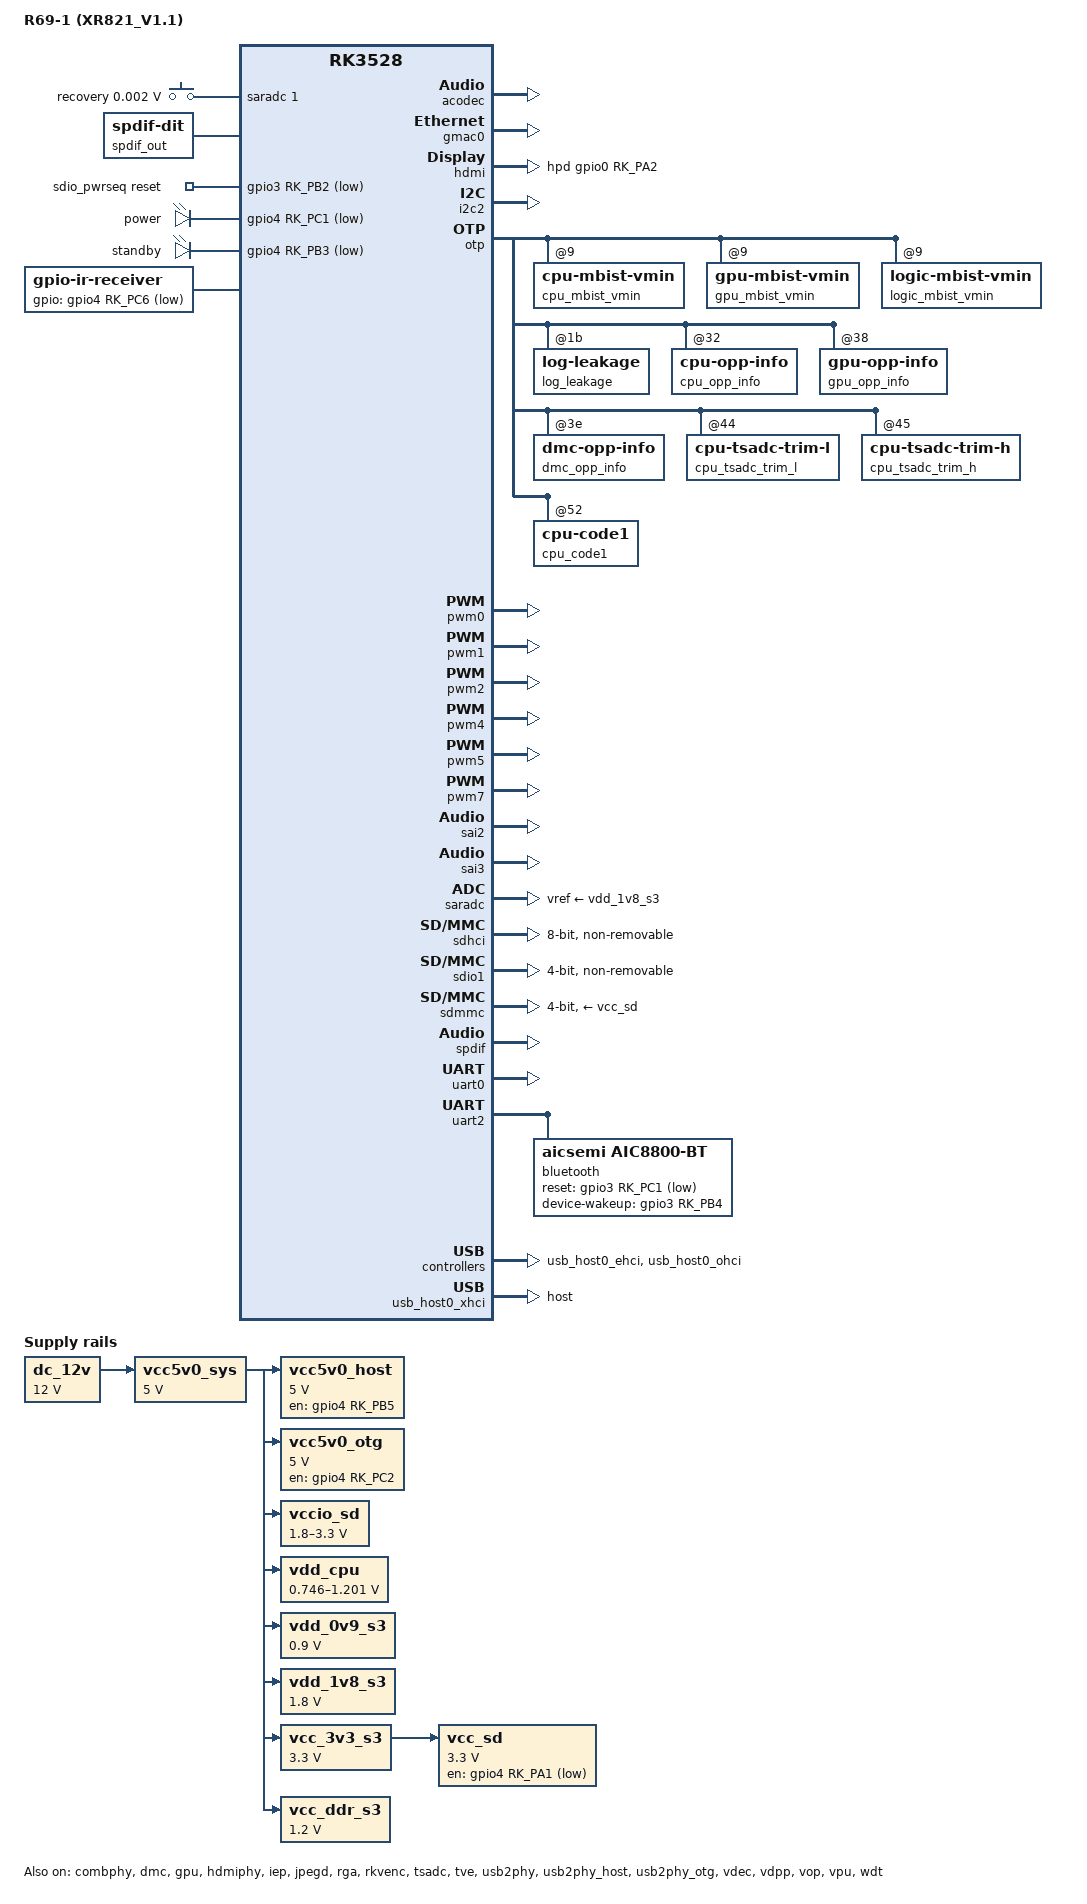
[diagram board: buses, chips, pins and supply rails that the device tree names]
/dts-v1/;

/*
 * Written by tools/dtcx/upstream.py from board.dts: a view, not edited.
 * Over gregkh/linux at v7.3.4.
 * Needs, beyond it, found by name and so best-effort: each
 * patch adding a name the tree uses or a dtsi change it keeps, which may in
 * turn need others before it:
 *   patches/linux-rockchip/6.12/bluetooth-hci-h4-serdev.patch:
 *     "aicsemi,aic8800-bt"
 *   patches/linux-rockchip-mainline/dt-bindings-rk3528.patch:
 *     "rockchip,rk3528-vdec", "rockchip,rk3528-tsadc", rockchip,grf, rockchip,hw-tshut-mode,
 *     rockchip,hw-tshut-polarity, rockchip,hw-tshut-temp, "rockchip,rk3528-vop", rockchip,pmu,
 *     "rockchip,rk3528-dw-hdmi", "rockchip,rk3528-hdmi-phy", "rockchip,rk3528-codec"
 *   patches/linux-rockchip-mainline/dt-bindings-rk3528-audio.patch:
 *     "rockchip,rk3528-sai", "rockchip,rk3576-sai"
 *   patches/linux-rockchip-mainline/dt-bindings-rk3528-core-grf.patch:
 *     "rockchip,rk3528-core-grf"
 *   patches/linux-rockchip-mainline/dt-bindings-rk3528-rga.patch:
 *     "rockchip,rk3528-rga"
 *   patches/linux-rockchip-mainline/dt-bindings-rockchip-iep2.patch:
 *     "rockchip,rk3528-iep"
 *   patches/linux-rockchip-mainline/dt-bindings-rockchip-vdpp.patch:
 *     "rockchip,rk3528-vdpp"
 *   patches/linux-rockchip-mainline/dt-bindings-rockchip-iommu-dlr.patch:
 *     rockchip,disable-device-link-resume
 *   patches/linux-rockchip-mainline/dt-bindings-rockchip-grf-rk3528-pmu.patch:
 *     "rockchip,rk3528-pmu-grf"
 *   patches/linux-rockchip-mainline/dt-bindings-rk3528-gpu-grf.patch:
 *     "rockchip,rk3528-gpu-grf"
 *   patches/linux-rockchip-mainline/dt-bindings-devfreq-rockchip-dfi-rk3528.patch:
 *     "rockchip,rk3528-dfi"
 *   patches/linux-rockchip-mainline/dt-bindings-rockchip-rk3528-dmc.patch:
 *     "rockchip,rk3528-dmc"
 *   patches/linux-rockchip-mainline/media-rkvdec-rk3528.patch:
 *     "rockchip,rk3528-vdec"
 *   patches/linux-rockchip-mainline/media-hantro-rk3528-bindings.patch:
 *     "rockchip,rk3528-vpu"
 *   patches/linux-rockchip-mainline/media-hantro-rk3528.patch:
 *     "rockchip,rk3528-vpu"
 *   patches/linux-rockchip-mainline/media-rga-rk3528.patch:
 *     "rockchip,rk3528-rga"
 *   patches/linux-rockchip-mainline/media-rockchip-iep2.patch:
 *     "rockchip,rk3528-iep"
 *   patches/linux-rockchip-mainline/devfreq-rockchip-dfi-rk3528.patch:
 *     "rockchip,rk3528-dfi"
 *   patches/linux-rockchip-mainline/devfreq-rk3528-dmc.patch:
 *     "rockchip,rk3528-dmc"
 *   patches/linux-rockchip-mainline/thermal-rk3528.patch:
 *     "rockchip,rk3528-tsadc", rockchip,hw-tshut-mode
 *   patches/linux-rockchip-mainline/cpufreq-rockchip-pvtm.patch:
 *     "rockchip,rk3528", "rockchip,rk3528-mali", rockchip,grf, rockchip,pvtm-freq,
 *     rockchip,pvtm-offset, rockchip,pvtm-sample-time, rockchip,pvtm-volt,
 *     rockchip,pvtm-voltage-sel
 *   patches/linux-rockchip-mainline/drm-rk3528.patch:
 *     "rockchip,rk3528-dw-hdmi", "rockchip,rk3528-vop", "rockchip,rk3528-hdmi-phy"
 *   patches/linux-rockchip-mainline/drm-rk3528-tve.patch:
 *     "rockchip,rk3528-tve", rockchip,grf
 *   patches/linux-rockchip-mainline/iommu-rockchip-attach-only.patch:
 *     rockchip,disable-device-link-resume
 *   patches/linux-rockchip-mainline/arm64-dts-rk3528-media-display.patch:
 *     &core_grf, &rmii0_phy nvmem-cells, &rmii0_phy nvmem-cell-names, &test_version,
 *     &macphy_txlevel, &vdac_out_current, &spdif, &rng, &rga, &rga_mmu, &iep, &iep_mmu, &vdpp,
 *     &jpegd, &jpegd_mmu, &vpu, &vdpu_mmu, &vdec_mmu, &vdec, &sram, &sai2, &acodec, &vop, &vop_mmu,
 *     &tve, &rkvenc, &rkvenc_mmu, &hdmi, &hdmiphy, &sai3, &tsadc, &display_subsystem
 *   patches/linux-rockchip-mainline/arm64-dts-rk3528-dfi.patch:
 *     &pmu_grf, &dfi
 *   patches/linux-rockchip-mainline/arm64-dts-rk3528-gpu-grf.patch:
 *     &gpu_grf
 *   patches/linux-rockchip-mainline/arm64-dts-rk3528-gpu-bus-clock.patch:
 *     &gpu assigned-clock-rates
 *   patches/linux-rockchip-mainline/arm64-dts-rk3528-dmc.patch:
 *     &dmc, &dmc_opp_table
 *   patches/linux-rockchip-mainline/media-rc-keymaps-r69-1.patch:
 *     "rc-r69-1"
 *   patches/linux-rockchip-mainline/asoc-rk3528-codec.patch:
 *     "rockchip,rk3528-codec"
 *   patches/linux-rockchip-mainline/media-rkjpegd-v7-bindings.patch:
 *     "rockchip,rk3588-jpegd"
 *   patches/linux-rockchip-mainline/media-rkjpegd-v7-driver.patch:
 *     "rockchip,rk3588-jpegd"
 *   patches/linux-rockchip-mainline/media-rkvenc-rk3528-bindings.patch:
 *     "rockchip,rk3528-rkvenc"
 *   patches/linux-rockchip-mainline/media-rkvenc-rk3528-vepu540c.patch:
 *     "rockchip,rk3528-rkvenc"
 *   patches/linux-rockchip-mainline/media-rockchip-vdpp.patch:
 *     "rockchip,rk3528-vdpp"
 * Left out, the distribution's, not the board's:
 *   /reserved-memory/ramoops@110000
 */

#include "rk3528.dtsi"
#include <dt-bindings/power/rockchip,rk3528-power.h>
#include <dt-bindings/gpio/gpio.h>
#include <dt-bindings/interrupt-controller/arm-gic.h>
#include <dt-bindings/interrupt-controller/irq.h>
#include <dt-bindings/pinctrl/rockchip.h>
#include <dt-bindings/input/linux-event-codes.h>
#include <dt-bindings/thermal/thermal.h>

/ {
	compatible = "r69-1,rk3518-tvbox", "rockchip,rk3528";
	model = "R69-1 (XR821_V1.1)";

	aliases {
		ethernet0 = &gmac0;
		i2c0 = &i2c0;
		i2c1 = &i2c1;
		i2c2 = &i2c2;
		i2c3 = &i2c3;
		i2c4 = &i2c4;
		i2c5 = &i2c5;
		i2c6 = &i2c6;
		i2c7 = &i2c7;
		serial0 = &uart0;
		serial1 = &uart1;
		serial2 = &uart2;
		serial3 = &uart3;
		serial4 = &uart4;
		serial5 = &uart5;
		serial6 = &uart6;
		serial7 = &uart7;
		spi0 = &spi0;
		spi1 = &spi1;
	};

	cpus {
		idle-states {
			entry-method = "psci";

			CPU_SLEEP0: cpu-sleep0 {
				compatible = "arm,idle-state";
				local-timer-stop;
				arm,psci-suspend-param = <0x10000>;
				entry-latency-us = <120>;
				exit-latency-us = <250>;
				min-residency-us = <900>;
				status = "disabled";
			};

			CPU_SLEEP1: cpu-sleep {
				compatible = "arm,idle-state";
				local-timer-stop;
				arm,psci-suspend-param = <0x10000>;
				entry-latency-us = <120>;
				exit-latency-us = <250>;
				min-residency-us = <900>;
				status = "okay";
			};
		};
	};

	firmware {
		optee {
			compatible = "linaro,optee-tz";
			method = "smc";
		};
	};

	reserved-memory {
		cma {
			compatible = "shared-dma-pool";
			reusable;
			size = <0x00 0x800000>;
			linux,cma-default;
		};
	};

	arm-pmu {
		compatible = "arm,cortex-a53-pmu";
		interrupts = <GIC_SPI 171 IRQ_TYPE_LEVEL_HIGH>,
		             <GIC_SPI 172 IRQ_TYPE_LEVEL_HIGH>,
		             <GIC_SPI 173 IRQ_TYPE_LEVEL_HIGH>,
		             <GIC_SPI 174 IRQ_TYPE_LEVEL_HIGH>;
		interrupt-affinity = <&cpu0>, <&cpu1>, <&cpu2>, <&cpu3>;
	};

	thermal_zones: thermal-zones {
		soc_thermal: soc-thermal {
			polling-delay-passive = <20>;
			polling-delay = <1000>;
			sustainable-power = <638>;
			thermal-sensors = <&tsadc 0>;

			trips {
				threshold: trip-point-0 {
					temperature = <95000>;
					hysteresis = <2000>;
					type = "passive";
				};

				target: trip-point-1 {
					temperature = <110000>;
					hysteresis = <2000>;
					type = "passive";
				};

				soc_crit: soc-crit {
					temperature = <120000>;
					hysteresis = <2000>;
					type = "critical";
				};
			};

			cooling-maps {
				map0 {
					trip = <&target>;
					cooling-device = <&cpu0 THERMAL_NO_LIMIT THERMAL_NO_LIMIT>;
					contribution = <1024>;
				};

				map1 {
					trip = <&target>;
					cooling-device = <&gpu THERMAL_NO_LIMIT THERMAL_NO_LIMIT>;
					contribution = <1024>;
				};
			};
		};
	};

	acodec_sound: acodec-sound {
		compatible = "simple-audio-card";
		simple-audio-card,name = "rk3528-acodec";
		simple-audio-card,format = "i2s";
		simple-audio-card,mclk-fs = <256>;
		status = "okay";

		simple-audio-card,cpu {
			sound-dai = <&sai2>;
		};

		simple-audio-card,codec {
			sound-dai = <&acodec>;
		};
	};

	adc_keys: adc-keys {
		compatible = "adc-keys";
		io-channels = <&saradc 1>;
		io-channel-names = "buttons";
		keyup-threshold-microvolt = <1800000>;
		poll-interval = <100>;
		status = "okay";

		button-recovery {
			press-threshold-microvolt = <1750>;
			linux,code = <KEY_VENDOR>;
			label = "recovery";
		};
	};

	dc_12v: dc-12v {
		compatible = "regulator-fixed";
		regulator-name = "dc_12v";
		regulator-always-on;
		regulator-boot-on;
		regulator-min-microvolt = <12000000>;
		regulator-max-microvolt = <12000000>;
	};

	spdif-sound {
		compatible = "simple-audio-card";
		simple-audio-card,name = "ROCKCHIP,SPDIF";
		simple-audio-card,mclk-fs = <128>;
		status = "okay";

		simple-audio-card,cpu {
			sound-dai = <&spdif>;
		};

		simple-audio-card,codec {
			sound-dai = <&spdif_out>;
		};
	};

	spdif_out: spdif-out {
		compatible = "linux,spdif-dit";
		#sound-dai-cells = <0>;
		status = "okay";
	};

	vcc5v0_sys: vcc5v0-sys {
		compatible = "regulator-fixed";
		regulator-name = "vcc5v0_sys";
		regulator-always-on;
		regulator-boot-on;
		regulator-min-microvolt = <5000000>;
		regulator-max-microvolt = <5000000>;
		vin-supply = <&dc_12v>;
	};

	vcc5v0_host: vcc5v0-host-regulator {
		compatible = "regulator-fixed";
		regulator-name = "vcc5v0_host";
		regulator-boot-on;
		regulator-always-on;
		regulator-min-microvolt = <5000000>;
		regulator-max-microvolt = <5000000>;
		enable-active-high;
		gpio = <&gpio4 RK_PB5 GPIO_ACTIVE_HIGH>;
		vin-supply = <&vcc5v0_sys>;
		pinctrl-names = "default";
		pinctrl-0 = <&vcc5v0_host_en>;
	};

	vcc5v0_otg: vcc5v0-otg-regulator {
		compatible = "regulator-fixed";
		regulator-name = "vcc5v0_otg";
		regulator-min-microvolt = <5000000>;
		regulator-max-microvolt = <5000000>;
		enable-active-high;
		gpio = <&gpio4 RK_PC2 GPIO_ACTIVE_HIGH>;
		vin-supply = <&vcc5v0_sys>;
		pinctrl-names = "default";
		pinctrl-0 = <&vcc5v0_otg_en>;
	};

	vccio_sd: vccio-sd {
		compatible = "regulator-gpio";
		regulator-name = "vccio_sd";
		regulator-min-microvolt = <1800000>;
		regulator-max-microvolt = <3300000>;
		gpios = <&gpio4 RK_PB6 GPIO_ACTIVE_HIGH>;
		vin-supply = <&vcc5v0_sys>;
		states = <1800000 0 3300000 1>;
	};

	vdd_cpu: vdd_logic: vdd_gpu: vdd-cpu {
		compatible = "pwm-regulator";
		pwms = <&pwm1 0 5000 1>;
		regulator-name = "vdd_cpu";
		regulator-min-microvolt = <746000>;
		regulator-max-microvolt = <1201000>;
		regulator-always-on;
		regulator-boot-on;
		regulator-settling-time-up-us = <250>;
		pwm-supply = <&vcc5v0_sys>;
		status = "okay";
	};

	vdd_0v9_s3: vdd-0v9-s3 {
		compatible = "regulator-fixed";
		regulator-name = "vdd_0v9_s3";
		regulator-always-on;
		regulator-boot-on;
		regulator-min-microvolt = <900000>;
		regulator-max-microvolt = <900000>;
		vin-supply = <&vcc5v0_sys>;
	};

	vdd_1v8_s3: vdd-1v8-s3 {
		compatible = "regulator-fixed";
		regulator-name = "vdd_1v8_s3";
		regulator-always-on;
		regulator-boot-on;
		regulator-min-microvolt = <1800000>;
		regulator-max-microvolt = <1800000>;
		vin-supply = <&vcc5v0_sys>;
	};

	vcc_3v3_s3: vcc-3v3-s3 {
		compatible = "regulator-fixed";
		regulator-name = "vcc_3v3_s3";
		regulator-always-on;
		regulator-boot-on;
		regulator-min-microvolt = <3300000>;
		regulator-max-microvolt = <3300000>;
		vin-supply = <&vcc5v0_sys>;
	};

	vcc_sd: vcc-sd {
		compatible = "regulator-fixed";
		gpio = <&gpio4 RK_PA1 GPIO_ACTIVE_LOW>;
		regulator-name = "vcc_sd";
		regulator-min-microvolt = <3300000>;
		regulator-max-microvolt = <3300000>;
		vin-supply = <&vcc_3v3_s3>;
	};

	vcc_ddr_s3: vcc-ddr-s3 {
		compatible = "regulator-fixed";
		regulator-name = "vcc_ddr_s3";
		regulator-always-on;
		regulator-boot-on;
		regulator-min-microvolt = <1200000>;
		regulator-max-microvolt = <1200000>;
		vin-supply = <&vcc5v0_sys>;
	};

	sdio_pwrseq: sdio-pwrseq {
		compatible = "mmc-pwrseq-simple";
		pinctrl-names = "default";
		post-power-on-delay-ms = <200>;
		reset-gpios = <&gpio3 RK_PB2 GPIO_ACTIVE_LOW>;
		pinctrl-0 = <&wifi_enable_h>, <&clkm1_32k_out>;
		status = "okay";
	};

	leds {
		compatible = "gpio-leds";

		/* lit when driven low, measured: the factory tree's active-high leaves it dark while up */
		normal_led: led-power {
			gpios = <&gpio4 RK_PC1 GPIO_ACTIVE_LOW>;
			default-state = "on";
			retain-state-suspended;
			retain-state-shutdown;
			label = "power";
		};

		standby_led: led-standby {
			gpios = <&gpio4 RK_PB3 GPIO_ACTIVE_LOW>;
			default-state = "off";
			retain-state-suspended;
			retain-state-shutdown;
			label = "standby";
		};
	};

	ir-receiver {
		compatible = "gpio-ir-receiver";
		gpios = <&gpio4 RK_PC6 GPIO_ACTIVE_LOW>;
		linux,rc-map-name = "rc-r69-1";
		pinctrl-names = "default";
		pinctrl-0 = <&ir_rx_gpio>;
	};

	hdmi-sound {
		compatible = "simple-audio-card";
		simple-audio-card,name = "rockchip,hdmi";
		simple-audio-card,format = "i2s";
		simple-audio-card,mclk-fs = <128>;

		simple-audio-card,cpu {
			sound-dai = <&sai3>;
			dai-tdm-slot-num = <2>;
			dai-tdm-slot-width = <32>;
		};

		simple-audio-card,codec {
			sound-dai = <&hdmi>;
		};
	};
};

&acodec {
	pa-ctl-gpios = <&gpio0 RK_PA0 GPIO_ACTIVE_HIGH>;
	status = "okay";
};

&combphy {
	status = "okay";
};

&cpu0 {
	#cooling-cells = <2>;
	dynamic-power-coefficient = <147>;
	cpu-idle-states = <&CPU_SLEEP0>;
	cpu-supply = <&vdd_cpu>;
};

&cpu1 {
	cpu-idle-states = <&CPU_SLEEP0>;
};

&cpu2 {
	cpu-idle-states = <&CPU_SLEEP1>;
};

&cpu3 {
	cpu-idle-states = <&CPU_SLEEP1>;
};

&cpu_opp_table {
	rockchip,pvtm-voltage-sel = <0 1420 0>, <1410 1444 1>, <1445 1474 2>, <1475 1509 3>,
	                            <1510 1544 4>, <1545 1579 5>, <1580 1619 6>,
	                            <1620 1689 7>, <1690 1744 8>, <1745 1799 9>,
	                            <1800 9999 10>;
	rockchip,pvtm-offset = <0x18>;
	rockchip,pvtm-sample-time = <1100>;
	rockchip,pvtm-freq = <1416000>;
	rockchip,pvtm-volt = <950000>;
	rockchip,grf = <&core_grf>;
	/delete-node/ opp-1608000000;
	/delete-node/ opp-1800000000;
	/delete-node/ opp-2016000000;

	opp-1200000000 {
		opp-microvolt = <900000 900000 1000000>;
	};

	opp-1416000000 {
		opp-microvolt = <962500 962500 1000000>;
		opp-microvolt-L1 = <950000 950000 1000000>;
		opp-microvolt-L2 = <937500 937500 1000000>;
		opp-microvolt-L3 = <925000 925000 1000000>;
		opp-microvolt-L4 = <912500 912500 1000000>;
		opp-microvolt-L0 = <962500 962500 1000000>;
		opp-microvolt-L5 = <900000 900000 1000000>;
		opp-microvolt-L6 = <900000 900000 1000000>;
		opp-microvolt-L7 = <900000 900000 1000000>;
		opp-microvolt-L8 = <900000 900000 1000000>;
		opp-microvolt-L9 = <900000 900000 1000000>;
		opp-microvolt-L10 = <900000 900000 1000000>;
	};
};

&dmc {
	center-supply = <&vdd_cpu>;
	status = "okay";
};

&dmc_opp_table {
	opp-324000000 {
		opp-hz = /bits/ 64 <324000000>;
		opp-microvolt = <900000 900000 1000000>;
	};

	opp-666000000 {
		opp-hz = /bits/ 64 <666000000>;
		opp-microvolt = <900000 900000 1000000>;
	};

	opp-1056000000 {
		opp-hz = /bits/ 64 <1056000000>;
		opp-microvolt = <900000 900000 1000000>;
	};

	opp-780000000 {
		opp-hz = /bits/ 64 <780000000>;
		opp-microvolt = <900000 900000 1000000>;
	};
};

&gmac0 {
	clock_in_out = "input";
	status = "okay";
};

&gpu {
	#cooling-cells = <2>;
	mali-supply = <&vdd_cpu>;
	dynamic-power-coefficient = <724>;
	status = "okay";
};

&gpu_opp_table {
	rockchip,pvtm-voltage-sel = <0 809 0>, <810 830 1>, <831 850 2>, <851 880 3>,
	                            <881 890 4>, <891 910 5>, <911 930 6>, <931 950 7>,
	                            <951 970 8>, <971 995 9>, <1000 9999 10>;
	rockchip,pvtm-offset = <24>;
	rockchip,pvtm-sample-time = <1100>;
	rockchip,pvtm-freq = <800000>;
	rockchip,pvtm-volt = <950000>;
	rockchip,grf = <&gpu_grf>;
	/delete-node/ opp-500000000;
	/delete-node/ opp-600000000;

	opp-800000000 {
		opp-microvolt = <962500 962500 1000000>;
		opp-microvolt-L1 = <950000 950000 1000000>;
		opp-microvolt-L2 = <937500 937500 1000000>;
		opp-microvolt-L3 = <925000 925000 1000000>;
		opp-microvolt-L4 = <912500 912500 1000000>;
		opp-microvolt-L5 = <900000 900000 1000000>;
		opp-microvolt-L0 = <962500 962500 1000000>;
		opp-microvolt-L6 = <900000 900000 1000000>;
		opp-microvolt-L7 = <900000 900000 1000000>;
		opp-microvolt-L8 = <900000 900000 1000000>;
		opp-microvolt-L9 = <900000 900000 1000000>;
		opp-microvolt-L10 = <900000 900000 1000000>;
	};
};

&hdmi {
	pinctrl-names = "default";
	pinctrl-0 = <&hdmi_pins>;
	hpd-gpios = <&gpio0 RK_PA2 GPIO_ACTIVE_HIGH>;
	ddc-i2c-bus = <&i2c2>;
	status = "okay";
};

&hdmi_pins {
	rockchip,pins = <0 RK_PA3 1 &pcfg_pull_none>;
};

&hdmiphy {
	status = "okay";
};

&i2c2 {
	pinctrl-0 = <&i2c2m0_xfer>;
	status = "okay";
};

&iep {
	status = "okay";
};

&iep_mmu {
	status = "okay";
};

&jpegd {
	status = "okay";
};

&jpegd_mmu {
	status = "okay";
};

&otp {
	cpu_mbist_vmin: cpu-mbist-vmin@9 {
		reg = <0x09 0x01>;
		bits = <0 3>;
	};

	gpu_mbist_vmin: gpu-mbist-vmin@9 {
		reg = <0x09 0x01>;
		bits = <3 2>;
	};

	logic_mbist_vmin: logic-mbist-vmin@9 {
		reg = <0x09 0x01>;
		bits = <5 2>;
	};

	log_leakage: log-leakage@1b {
		reg = <0x1b 0x01>;
	};

	macphy_bgs: macphy-bgs@2d {
		reg = <0x2d 0x01>;
	};

	cpu_opp_info: cpu-opp-info@32 {
		reg = <0x32 0x06>;
	};

	gpu_opp_info: gpu-opp-info@38 {
		reg = <0x38 0x06>;
	};

	dmc_opp_info: dmc-opp-info@3e {
		reg = <0x3e 0x06>;
	};

	cpu_tsadc_trim_l: cpu-tsadc-trim-l@44 {
		reg = <0x44 0x01>;
	};

	cpu_tsadc_trim_h: cpu-tsadc-trim-h@45 {
		reg = <0x45 0x01>;
	};

	cpu_code1: cpu-code1@52 {
		reg = <0x52 0x02>;
	};
};

&pinctrl {
	pwm3 {
		ir_rx_gpio: ir-rx-gpio {
			rockchip,pins = <4 RK_PC6 RK_FUNC_GPIO &pcfg_pull_none>;
		};
	};

	pcfg_output_high_pull_up: pcfg-output-high-pull-up {
		output-high;
		bias-pull-up;
	};

	pcfg_output_high_pull_down: pcfg-output-high-pull-down {
		output-high;
		bias-pull-down;
	};

	pcfg_output_high_pull_none: pcfg-output-high-pull-none {
		output-high;
		bias-disable;
	};

	pcfg_output_low_pull_up: pcfg-output-low-pull-up {
		output-low;
		bias-pull-up;
	};

	pcfg_output_low_pull_down: pcfg-output-low-pull-down {
		output-low;
		bias-pull-down;
	};

	pcfg_output_low_pull_none: pcfg-output-low-pull-none {
		output-low;
		bias-disable;
	};

	usb {
		vcc5v0_host_en: vcc5v0-host-en-pins {
			rockchip,pins = <4 RK_PB5 RK_FUNC_GPIO &pcfg_pull_none>;
		};

		vcc5v0_otg_en: vcc5v0-otg-en-pins {
			rockchip,pins = <4 RK_PC1 RK_FUNC_GPIO &pcfg_pull_none>;
		};
	};

	sdio-pwrseq {
		wifi_enable_h: wifi-enable-h-pins {
			rockchip,pins = <3 RK_PB2 RK_FUNC_GPIO &pcfg_pull_none>;
		};
	};
};

&power {
	power-domain@5 {
		status = "okay";
	};
};

&pwm0 {
	status = "okay";
};

&pwm1 {
	pinctrl-names = "default";
	pinctrl-0 = <&pwm1m0_pins>;
	status = "okay";
};

&pwm2 {
	status = "okay";
};

&pwm4 {
	status = "okay";
};

&pwm5 {
	status = "okay";
};

&pwm7 {
	status = "okay";
};

&rga {
	status = "okay";
};

&rga_mmu {
	status = "okay";
};

&rkvenc {
	status = "okay";
};

&rkvenc_mmu {
	status = "okay";
};

&sai2 {
	status = "okay";
};

&sai3 {
	status = "okay";
};

&saradc {
	vref-supply = <&vdd_1v8_s3>;
	status = "okay";
};

&sdhci {
	max-frequency = <100000000>;
	bus-width = <8>;
	no-sd;
	no-sdio;
	non-removable;
	mmc-hs200-1_8v;
	status = "okay";
};

&sdio1 {
	max-frequency = <100000000>;
	pinctrl-0 = <&sdio1_bus4>, <&sdio1_cmd>, <&sdio1_clk>;
	no-sd;
	no-mmc;
	bus-width = <4>;
	disable-wp;
	cap-sd-highspeed;
	cap-sdio-irq;
	keep-power-in-suspend;
	non-removable;
	mmc-pwrseq = <&sdio_pwrseq>;
	sd-uhs-sdr104;
	status = "okay";
};

&sdmmc {
	pinctrl-0 = <&sdmmc_clk>, <&sdmmc_cmd>, <&sdmmc_det>, <&sdmmc_bus4>;
	bus-width = <4>;
	cap-mmc-highspeed;
	cap-sd-highspeed;
	disable-wp;
	vmmc-supply = <&vcc_sd>;
	status = "okay";
};

&spdif {
	status = "okay";
};

&tsadc {
	status = "okay";
};

&tve {
	status = "okay";
};

&uart0 {
	pinctrl-names = "default";
	pinctrl-0 = <&uart0m0_xfer>;
	status = "okay";
};

&uart2 {
	pinctrl-names = "default";
	pinctrl-0 = <&uart2m0_xfer>, <&uart2m0_ctsn>, <&uart2m0_rtsn>;
	status = "okay";

	bluetooth {
		compatible = "aicsemi,aic8800-bt"; /* the AIC8800's Bluetooth half */
		max-speed = <1500000>;
		reset-gpios = <&gpio3 RK_PC1 GPIO_ACTIVE_LOW>;
		device-wakeup-gpios = <&gpio3 RK_PB4 GPIO_ACTIVE_HIGH>;
	};
};

&usb2phy {
	status = "okay";
};

&usb2phy_host {
	phy-supply = <&vcc5v0_host>;
	status = "okay";
};

&usb2phy_otg {
	phy-supply = <&vcc5v0_otg>;
	status = "okay";
};

&usb_host0_ehci {
	status = "okay";
};

&usb_host0_ohci {
	status = "okay";
};

&usb_host0_xhci {
	dr_mode = "host";
	status = "okay";
};

/*
 * No power-domains on purpose.  rk3528.dtsi leaves
 * power-domain@RK3528_PD_RKVDEC disabled, so referencing it makes both
 * devices fail with deferred probe timeouts.  The vendor DTB does not
 * use a power domain here either: the RK3528 vdec domain is defined with
 * a zero power mask, i.e. bus idle handshake only, permanently powered.
 */
&vdec {
	status = "okay";
};

/*
 * The vendor DTB uses the BSP-only "rockchip,iommu-v2"; mainline reaches
 * the same v2 ops through "rockchip,rk3568-iommu".
 */
&vdec_mmu {
	status = "okay";
};

&vdpp {
	status = "okay";
};

&vdpu_mmu {
	status = "okay";
};

&vop {
	esmart_lb_mode = [02]; /* Esmart0 a 4K line buffer for HDMI */
	status = "okay";
};

&vop_mmu {
	status = "okay";
};

/* VDPU2, as on RK3568: MPEG-2, VP8 and H.264 behind the decoder at +0x400. */
&vpu {
	status = "okay";
};

&wdt {
	status = "okay";
};
